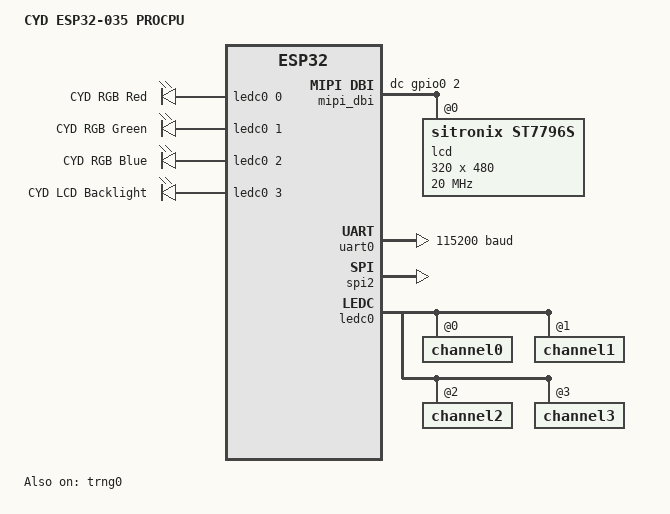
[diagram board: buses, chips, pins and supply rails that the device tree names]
/*
 * SPDX-License-Identifier: Apache-2.0
 */

/dts-v1/;

#include <espressif/esp32/esp32.dtsi>
#include <espressif/partitions_0x1000_amp.dtsi>
#include "esp32_035-pinctrl.dtsi"
#include <zephyr/dt-bindings/pwm/pwm.h>
#include <zephyr/dt-bindings/gpio/gpio.h>
#include <zephyr/dt-bindings/spi/spi.h>
#include <zephyr/dt-bindings/mipi_dbi/mipi_dbi.h>

/ {
    model = "CYD ESP32-035 PROCPU";
    compatible = "cyd,esp32-035", "espressif,esp32";

    chosen {
        zephyr,sram = &sram1;
        zephyr,console = &uart0;
        zephyr,shell-uart = &uart0;
        zephyr,flash = &flash0;
        zephyr,code-partition = &slot0_partition;
        zephyr,display = &lcd;
    };

    aliases {
        uart-0 = &uart0;
        watchdog0 = &wdt0;
        led0 = &led_red;
        led1 = &led_green;
        led2 = &led_blue;
        backlight = &lcd_backlight;
    };

    pwmleds {
        compatible = "pwm-leds";

        led_red: led_red {
            label = "CYD RGB Red";
            pwms = <&ledc0 0 PWM_HZ(5000) PWM_POLARITY_INVERTED>;
        };

        led_green: led_green {
            label = "CYD RGB Green";
            pwms = <&ledc0 1 PWM_HZ(5000) PWM_POLARITY_INVERTED>;
        };

        led_blue: led_blue {
            label = "CYD RGB Blue";
            pwms = <&ledc0 2 PWM_HZ(5000) PWM_POLARITY_INVERTED>;
        };

        lcd_backlight: lcd_backlight {
            label = "CYD LCD Backlight";
            pwms = <&ledc0 3 PWM_HZ(5000) PWM_POLARITY_NORMAL>;
        };
    };

    mipi_dbi {
        compatible = "zephyr,mipi-dbi-spi";

        spi-dev = <&spi2>;
        dc-gpios = <&gpio0 2 GPIO_ACTIVE_HIGH>;

        write-only;
        xfr-min-bits = "MIPI_DBI_SPI_XFR_8BIT";

        #address-cells = <1>;
        #size-cells = <0>;

        lcd: st7796s@0 {
            compatible = "sitronix,st7796s";

            reg = <0>;

            mipi-max-frequency = <20000000>;
            mipi-mode = "MIPI_DBI_MODE_SPI_4WIRE";

            width = <320>;
            height = <480>;

            frmctl1 = [80 10];

            bpc = [1f 50 00 20];
            dfc = [8a 07 3b];

            pwr1 = [80 64];
            pwr2 = <0x13>;
            pwr3 = <0xa7>;

            vcmpctl = <0x09>;

            doca = [40 8a 00 00 29 19 a5 33];

            pgc = [f0 06 0b 07 06 05 2e 33 47 3a 17 16 2e 31];
            ngc = [f0 09 0d 09 08 23 2e 33 46 38 13 13 2c 32];

            madctl = <0x48>;

            color-invert;
        };
    };
};

&flash0 {
    reg = <0x0 DT_SIZE_M(4)>;
    ranges = <0x0 0x0 DT_SIZE_M(4)>;
};

&uart0 {
    status = "okay";
    current-speed = <115200>;
    pinctrl-0 = <&uart0_default>;
    pinctrl-names = "default";
};

&spi2 {
    status = "okay";

    pinctrl-0 = <&spim2_default>;
    pinctrl-names = "default";

    #address-cells = <1>;
    #size-cells = <0>;

    cs-gpios = <&gpio0 15 GPIO_ACTIVE_LOW>;
};

&gpio0 {
    gpio-reserved-ranges = <6 6>, <20 1>, <24 1>, <28 4>;
    status = "okay";
};

&gpio1 {
    gpio-reserved-ranges = <5 2>;
    status = "okay";
};

&timer0 {
    status = "disabled";
};

&timer1 {
    status = "disabled";
};

&timer2 {
    status = "disabled";
};

&timer3 {
    status = "disabled";
};

&trng0 {
    status = "okay";
};

&ledc0 {
    status = "okay";

    pinctrl-0 = <&ledc0_default>;
    pinctrl-names = "default";

    #address-cells = <1>;
    #size-cells = <0>;

    channel0@0 {
        reg = <0>;
        timer = <0>;
    };

    channel1@1 {
        reg = <1>;
        timer = <0>;
    };

    channel2@2 {
        reg = <2>;
        timer = <0>;
    };

    channel3@3 {
        reg = <3>;
        timer = <0>;
    };
};
